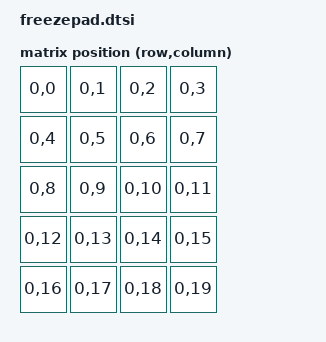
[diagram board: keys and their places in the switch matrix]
#include <dt-bindings/zmk/matrix_transform.h>
#include "freezepad-layouts.dtsi"
&physical_layout0 {
    transform = <&default_transform>;
};

// Keyscan Setup
/ {
    chosen {
        zmk,kscan = &kscan0;
        zmk,physical-layout = &physical_layout0;
    };

    default_transform: keymap_transform_0 {
        compatible = "zmk,matrix-transform";
        columns = <20>;
        rows = <1>;

// | SW00 | SW01 | SW02 | SW03 |
// | SW10 | SW11 | SW12 | SW13 |
// | SW20 | SW21 | SW22 | SW23 |
// | SW30 | SW31 | SW32 | SW33 |
// | SW40 | SW41 | SW42 | SW43 |

        map = <
            RC(0,0)  RC(0,1)  RC(0,2)  RC(0,3)
            RC(0,4)  RC(0,5)  RC(0,6)  RC(0,7)
            RC(0,8)  RC(0,9)  RC(0,10) RC(0,11)
            RC(0,12) RC(0,13) RC(0,14) RC(0,15)
            RC(0,16) RC(0,17) RC(0,18) RC(0,19)
        >;
    };

    kscan0: kscan {
        compatible = "zmk,kscan-gpio-direct";
        label = "KSCAN";
        wakeup-source;
        input-gpios =
            <&gpio0 29 (GPIO_ACTIVE_LOW | GPIO_PULL_UP)>, //SW00
            <&gpio0 20 (GPIO_ACTIVE_LOW | GPIO_PULL_UP)>, //SW01
            <&gpio0 31 (GPIO_ACTIVE_LOW | GPIO_PULL_UP)>, //SW02
            <&gpio0 17 (GPIO_ACTIVE_LOW | GPIO_PULL_UP)>, //SW03
            <&gpio0 8  (GPIO_ACTIVE_LOW | GPIO_PULL_UP)>, //SW04
            <&gpio0 6  (GPIO_ACTIVE_LOW | GPIO_PULL_UP)>, //SW05

            <&gpio0 22 (GPIO_ACTIVE_LOW | GPIO_PULL_UP)>, //SW10
            <&gpio0 2  (GPIO_ACTIVE_LOW | GPIO_PULL_UP)>, //SW11
            <&gpio0 24 (GPIO_ACTIVE_LOW | GPIO_PULL_UP)>, //SW12
            <&gpio1 15 (GPIO_ACTIVE_LOW | GPIO_PULL_UP)>, //SW13
            <&gpio1 0  (GPIO_ACTIVE_LOW | GPIO_PULL_UP)>, //SW14
            <&gpio1 13 (GPIO_ACTIVE_LOW | GPIO_PULL_UP)>, //SW15

            <&gpio1 6  (GPIO_ACTIVE_LOW | GPIO_PULL_UP)>, //SW20
            <&gpio0 9  (GPIO_ACTIVE_LOW | GPIO_PULL_UP)>, //SW21
            <&gpio0 10 (GPIO_ACTIVE_LOW | GPIO_PULL_UP)>, //SW22
            <&gpio1 4  (GPIO_ACTIVE_LOW | GPIO_PULL_UP)>, //SW23
            <&gpio1 11 (GPIO_ACTIVE_LOW | GPIO_PULL_UP)>, //SW24
            <&gpio0 11 (GPIO_ACTIVE_LOW | GPIO_PULL_UP)>, //SW25

            <&gpio1 7  (GPIO_ACTIVE_LOW | GPIO_PULL_UP)>, //SW30
            <&gpio1 2  (GPIO_ACTIVE_LOW | GPIO_PULL_UP)>, //SW31
     };

};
